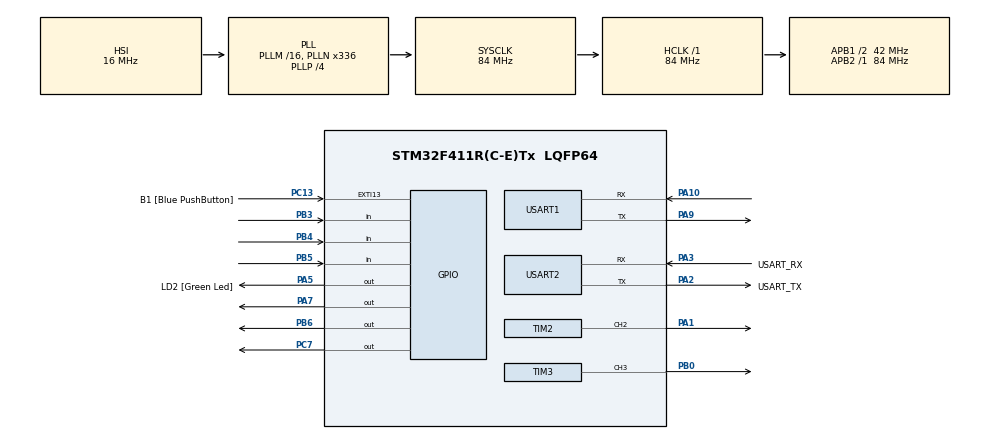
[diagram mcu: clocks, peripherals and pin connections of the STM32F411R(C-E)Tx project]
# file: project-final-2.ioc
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Mcu.Family=STM32F4
Mcu.Name=STM32F411R(C-E)Tx
Mcu.Package=LQFP64
NVIC.PriorityGroup=NVIC_PRIORITYGROUP_0
NVIC.TIM2_IRQn=true\:0\:0\:false\:false\:true\:true\:true\:true
PA1.Signal=S_TIM2_CH2
PA10.Mode=Asynchronous
PA10.Signal=USART1_RX
PA13.GPIO_Label=TMS
PA13.Mode=Serial_Wire
PA13.Signal=SYS_JTMS-SWDIO
PA14.GPIO_Label=TCK
PA14.Mode=Serial_Wire
PA14.Signal=SYS_JTCK-SWCLK
PA2.GPIO_Label=USART_TX
PA2.Mode=Asynchronous
PA2.Signal=USART2_TX
PA3.GPIO_Label=USART_RX
PA3.Mode=Asynchronous
PA3.Signal=USART2_RX
PA5.GPIO_Label=LD2 [Green Led]
PA5.Signal=GPIO_Output
PA7.Signal=GPIO_Output
PA9.Mode=Asynchronous
PA9.Signal=USART1_TX
PB0.Signal=S_TIM3_CH3
PB3.GPIO_PuPd=GPIO_PULLUP
PB3.Signal=GPIO_Input
PB4.GPIO_PuPd=GPIO_PULLUP
PB4.Signal=GPIO_Input
PB5.GPIO_PuPd=GPIO_PULLUP
PB5.Signal=GPIO_Input
PB6.Signal=GPIO_Output
PC13-ANTI_TAMP.GPIO_Label=B1 [Blue PushButton]
PC13-ANTI_TAMP.GPIO_ModeDefaultEXTI=GPIO_MODE_IT_FALLING
PC13-ANTI_TAMP.Signal=GPXTI13
PC14-OSC32_IN.Mode=LSE-External-Oscillator
PC14-OSC32_IN.Signal=RCC_OSC32_IN
PC15-OSC32_OUT.Mode=LSE-External-Oscillator
PC15-OSC32_OUT.Signal=RCC_OSC32_OUT
PC7.Signal=GPIO_Output
PH0\ -\ OSC_IN.Mode=HSE-External-Clock-Source
PH0\ -\ OSC_IN.Signal=RCC_OSC_IN
PH1\ -\ OSC_OUT.Mode=HSE-External-Clock-Source
PH1\ -\ OSC_OUT.Signal=RCC_OSC_OUT
ProjectManager.HeapSize=0x200
ProjectManager.StackSize=0x400
ProjectManager.TargetToolchain=STM32CubeIDE
RCC.48MHZClocksFreq_Value=84000000
RCC.AHBFreq_Value=84000000
RCC.APB1CLKDivider=RCC_HCLK_DIV2
RCC.APB1Freq_Value=42000000
RCC.APB1TimFreq_Value=84000000
RCC.APB2Freq_Value=84000000
RCC.APB2TimFreq_Value=84000000
RCC.CortexFreq_Value=84000000
RCC.FLatency-AdvancedSettings=FLASH_LATENCY_2
RCC.HCLKFreq_Value=84000000
RCC.HSE_VALUE=8000000
RCC.HSI_VALUE=16000000
RCC.PLLN=336
RCC.PLLP=RCC_PLLP_DIV4
RCC.SYSCLKFreq_VALUE=84000000
RCC.SYSCLKSource=RCC_SYSCLKSOURCE_PLLCLK
RCC.VCOOutputFreq_Value=336000000
SH.S_TIM2_CH2.0=TIM2_CH2,PWM Generation2 CH2
SH.S_TIM3_CH3.0=TIM3_CH3,PWM Generation3 CH3
TIM2.Channel-PWM\ Generation2\ CH2=TIM_CHANNEL_2
TIM2.Period=19999
TIM2.Prescaler=83
TIM3.Channel-PWM\ Generation3\ CH3=TIM_CHANNEL_3
TIM3.Period=999
TIM3.Prescaler=83
USART1.VirtualMode=VM_ASYNC
USART2.VirtualMode=VM_ASYNC
board=NUCLEO-F411RE

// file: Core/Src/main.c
/* USER CODE BEGIN Header */
/**
  ******************************************************************************
  * @file           : main.c
  * @brief          : Main program body
  ******************************************************************************
  * @attention
  *
  * Copyright (c) 2025 STMicroelectronics.
  * All rights reserved.
  *
  * This software is licensed under terms that can be found in the LICENSE file
  * in the root directory of this software component.
  * If no LICENSE file comes with this software, it is provided AS-IS.
  *
  ******************************************************************************
  */
/* USER CODE END Header */
#include "main.h"

/* USER CODE BEGIN Includes */
#include <stdio.h>  // Needed for sprintf
#include <string.h> // Needed for strlen
/* USER CODE END Includes */

/* USER CODE BEGIN PD */
// --- High Octave Frequencies (loudest for small buzzers) ---
// --- Octave 5 (Mid-High) ---
#define NOTE_C5  523
#define NOTE_D5  587
#define NOTE_E5  659
#define NOTE_F5  698
#define NOTE_G5  784
#define NOTE_A5  880
#define NOTE_B5  988

// --- Octave 6 (High - Best for resonance) ---
#define NOTE_C6  1047
#define NOTE_CS6 1109
#define NOTE_D6  1175
#define NOTE_DS6 1245
#define NOTE_E6  1319
#define NOTE_F6  1397
#define NOTE_FS6 1480
#define NOTE_G6  1568
#define NOTE_GS6 1661
#define NOTE_A6  1760
#define NOTE_AS6 1865
#define NOTE_B6  1976
// --- Sound Structure ---
typedef struct {
    uint16_t frequency; // Frequency in Hz
    uint16_t duration;  // Duration in milliseconds
} Tone;

const Tone snd_power_up[] = {
    {NOTE_C5, 100}, // 523 Hz
    {NOTE_E5, 100}, // 659 Hz
    {NOTE_G5, 100}, // 784 Hz
    {NOTE_C6, 100}, // 1047 Hz
    {NOTE_E6, 100}, // 1319 Hz
    {NOTE_G6, 250}, // 1568 Hz (Holds the high note)
    {0, 0}
};

const Tone snd_next_level[] = {
    {NOTE_E6, 100}, // 1319 Hz
    {NOTE_G6, 250}, // 1568 Hz (Holds the high note)
    {0, 0}
};

const Tone snd_game_start[] = {
    {NOTE_G5, 100}, // Ready...
    {0,       50},
    {NOTE_G5, 100}, // Set...
    {0,       50},
    {NOTE_C6, 400}, // GO! (High C)
    {0, 0}
};

const Tone snd_game_loss[] = {
    {NOTE_C6, 200}, // 1047 Hz
    {NOTE_B5, 200}, // 988 Hz
    {NOTE_AS6,200}, // (A#) using higher octave equivalent or A5 sharp
    // Actually let's use the explicit chromatic step down:
    {NOTE_A5, 200}, // 880 Hz
    {NOTE_GS6, 0},  // Skip (Logic fix below)

    // Simpler "Sad" Sequence:
    {NOTE_E6, 250},
    {NOTE_C6, 250},
    {NOTE_G5, 250},
    {NOTE_C5, 600}, // Lands on low C5
    {0, 0}
};
/* USER CODE END PD */

TIM_HandleTypeDef htim2;
TIM_HandleTypeDef htim3;

UART_HandleTypeDef huart1;
UART_HandleTypeDef huart2;

/* USER CODE BEGIN PV */
#include <stdlib.h> // For rand()

// Game Constants
#define MAX_LEVEL 100     // Maximum sequence length
#define START_SPEED 1000 // Initial LED speed in ms
#define SLOW_FACTOR 0.93f

// Game State
typedef enum {
    STATE_IDLE,
    STATE_SHOW_SEQUENCE,
    STATE_WAIT_FOR_INPUT,
    STATE_GAME_OVER
} GameState_t;

GameState_t currentState = STATE_IDLE;

// Sequence Memory
int simonSequence[MAX_LEVEL]; // Stores the pattern (e.g., {1, 3, 2, 1...})
int currentLevel = 1;         // How many steps to show
int playerIndex = 0;          // Which step the player is currently guessing
char msg[30];

const int startMaxTime = 30000;
volatile int currentMaxTime = startMaxTime; 	  // Max in timer (ms)
volatile int currentTime = startMaxTime;		  // Current time (ms)

volatile int decreateTimerActive = 0;	  // if set, the timer will go down at constant rate

// Your Button Struct (Keep this from before)
typedef struct {
    GPIO_TypeDef* BtnPort; uint16_t BtnPin;
    GPIO_TypeDef* LedPort; uint16_t LedPin;
    uint8_t ID;
    GPIO_PinState LastState; uint32_t LastDebounceTime;
} Button_t;

Button_t btn1 = {GPIOB, GPIO_PIN_4, GPIOC, GPIO_PIN_7, 1, GPIO_PIN_SET, 0};
Button_t btn2 = {GPIOB, GPIO_PIN_3, GPIOC, GPIO_PIN_6, 2, GPIO_PIN_SET, 0};
Button_t btn3 = {GPIOB, GPIO_PIN_5, GPIOA, GPIO_PIN_7, 3, GPIO_PIN_SET, 0};
/* USER CODE END PV */

void SystemClock_Config(void);
static void MX_GPIO_Init(void);
static void MX_USART2_UART_Init(void);
static void MX_USART1_UART_Init(void);
static void MX_TIM2_Init(void);
static void MX_TIM3_Init(void);
/* USER CODE BEGIN PFP */
void buzzer_set_tone(uint32_t frequency);
/* USER CODE END PFP */

int main(void)
{

  /* MCU Configuration--------------------------------------------------------*/

  /* Reset of all peripherals, Initializes the Flash interface and the Systick. */
  HAL_Init();

  /* Configure the system clock */
  SystemClock_Config();

  /* Initialize all configured peripherals */
  MX_GPIO_Init();
  MX_USART2_UART_Init();
  MX_USART1_UART_Init();
  MX_TIM2_Init();
  MX_TIM3_Init();
  /* USER CODE BEGIN 2 */
  HAL_TIM_PWM_Start(&htim2, TIM_CHANNEL_2);
  HAL_TIM_Base_Start_IT(&htim2);

  HAL_TIM_PWM_Start(&htim3, TIM_CHANNEL_3);

  Play_Melody(snd_power_up);

  sprintf(msg, "idle,0");
  HAL_UART_Transmit(&huart1, (uint8_t*)msg, strlen(msg), 100);
  /* USER CODE END 2 */

  /* Infinite loop */
  while (1)
  {

    /* USER CODE BEGIN 3 */
	  switch (currentState) {

		case STATE_IDLE:

			// Wait for ANY button to start
			if (HAL_GPIO_ReadPin(GPIOB, GPIO_PIN_4) == 0 ||
				HAL_GPIO_ReadPin(GPIOB, GPIO_PIN_3) == 0 ||
				HAL_GPIO_ReadPin(GPIOB, GPIO_PIN_5) == 0)
			{
				HAL_Delay(500); // Debounce start
				Play_Melody(snd_game_start);
				currentMaxTime = startMaxTime;
				SetTime(currentMaxTime);
				Start_New_Game();
			}
			break;

		case STATE_SHOW_SEQUENCE:
		    // Send Message to ESP32
		    sprintf(msg, "playing,%d", currentLevel - 1);
		    HAL_UART_Transmit(&huart1, (uint8_t*)msg, strlen(msg), 100);

			decreateTimerActive = 0;
			Play_Melody(snd_next_level);

			SetTime(currentTime + currentMaxTime/3);
			UpdateCurrentMaxTime();

			HAL_Delay(500);
			RandomNewSequence();
			// Play the pattern up to the current level
			for (int i = 0; i < currentLevel; i++) {
				Flash_LED(simonSequence[i], 300); // 600ms speed
			}

			decreateTimerActive = 1;
			currentState = STATE_WAIT_FOR_INPUT;
			break;

		case STATE_WAIT_FOR_INPUT:

		  if (currentTime == 0) {
			  currentState = STATE_GAME_OVER;
			  break;
		  }
		  // --- Button 1 Check ---
		  if (HAL_GPIO_ReadPin(GPIOB, GPIO_PIN_4) == 0) {
			  HAL_Delay(50); // WAIT 50ms for noise to settle

			  // Double check: Is it STILL pressed?
			  if (HAL_GPIO_ReadPin(GPIOB, GPIO_PIN_4) == 0) {
				  Check_Player_Input(1); // Register the move

				  // Critical: Wait until user RELEASES the button before continuing
				  // Otherwise, the loop runs again immediately
				  while(HAL_GPIO_ReadPin(GPIOB, GPIO_PIN_4) == 0);
			  }
		  }

		  // --- Button 2 Check ---
		  else if (HAL_GPIO_ReadPin(GPIOB, GPIO_PIN_3) == 0) {
			  HAL_Delay(50);
			  if (HAL_GPIO_ReadPin(GPIOB, GPIO_PIN_3) == 0) {
				  Check_Player_Input(2);
				  while(HAL_GPIO_ReadPin(GPIOB, GPIO_PIN_3) == 0);
			  }
		  }

		  // --- Button 3 Check ---
		  else if (HAL_GPIO_ReadPin(GPIOB, GPIO_PIN_5) == 0) {
			  HAL_Delay(50);
			  if (HAL_GPIO_ReadPin(GPIOB, GPIO_PIN_5) == 0) {
				  Check_Player_Input(3);
				  while(HAL_GPIO_ReadPin(GPIOB, GPIO_PIN_5) == 0);
			  }
		  }
		  break;

		case STATE_GAME_OVER:
			decreateTimerActive = 0;
			Play_GameOver_Anim();
			Play_Melody(snd_game_loss);
			break;
	}
  }
  /* USER CODE END 3 */
}

void SystemClock_Config(void)
{
  RCC_OscInitTypeDef RCC_OscInitStruct = {0};
  RCC_ClkInitTypeDef RCC_ClkInitStruct = {0};

  /** Configure the main internal regulator output voltage
  */
  __HAL_RCC_PWR_CLK_ENABLE();
  __HAL_PWR_VOLTAGESCALING_CONFIG(PWR_REGULATOR_VOLTAGE_SCALE1);

  /** Initializes the RCC Oscillators according to the specified parameters
  * in the RCC_OscInitTypeDef structure.
  */
  RCC_OscInitStruct.OscillatorType = RCC_OSCILLATORTYPE_HSI;
  RCC_OscInitStruct.HSIState = RCC_HSI_ON;
  RCC_OscInitStruct.HSICalibrationValue = RCC_HSICALIBRATION_DEFAULT;
  RCC_OscInitStruct.PLL.PLLState = RCC_PLL_ON;
  RCC_OscInitStruct.PLL.PLLSource = RCC_PLLSOURCE_HSI;
  RCC_OscInitStruct.PLL.PLLM = 16;
  RCC_OscInitStruct.PLL.PLLN = 336;
  RCC_OscInitStruct.PLL.PLLP = RCC_PLLP_DIV4;
  RCC_OscInitStruct.PLL.PLLQ = 4;
  if (HAL_RCC_OscConfig(&RCC_OscInitStruct) != HAL_OK)
  {
    Error_Handler();
  }

  /** Initializes the CPU, AHB and APB buses clocks
  */
  RCC_ClkInitStruct.ClockType = RCC_CLOCKTYPE_HCLK|RCC_CLOCKTYPE_SYSCLK
                              |RCC_CLOCKTYPE_PCLK1|RCC_CLOCKTYPE_PCLK2;
  RCC_ClkInitStruct.SYSCLKSource = RCC_SYSCLKSOURCE_PLLCLK;
  RCC_ClkInitStruct.AHBCLKDivider = RCC_SYSCLK_DIV1;
  RCC_ClkInitStruct.APB1CLKDivider = RCC_HCLK_DIV2;
  RCC_ClkInitStruct.APB2CLKDivider = RCC_HCLK_DIV1;

  if (HAL_RCC_ClockConfig(&RCC_ClkInitStruct, FLASH_LATENCY_2) != HAL_OK)
  {
    Error_Handler();
  }
}

static void MX_TIM2_Init(void)
{

  TIM_MasterConfigTypeDef sMasterConfig = {0};
  TIM_OC_InitTypeDef sConfigOC = {0};

  htim2.Instance = TIM2;
  htim2.Init.Prescaler = 83;
  htim2.Init.CounterMode = TIM_COUNTERMODE_UP;
  htim2.Init.Period = 19999;
  htim2.Init.ClockDivision = TIM_CLOCKDIVISION_DIV1;
  htim2.Init.AutoReloadPreload = TIM_AUTORELOAD_PRELOAD_DISABLE;
  if (HAL_TIM_PWM_Init(&htim2) != HAL_OK)
  {
    Error_Handler();
  }
  sMasterConfig.MasterOutputTrigger = TIM_TRGO_RESET;
  sMasterConfig.MasterSlaveMode = TIM_MASTERSLAVEMODE_DISABLE;
  if (HAL_TIMEx_MasterConfigSynchronization(&htim2, &sMasterConfig) != HAL_OK)
  {
    Error_Handler();
  }
  sConfigOC.OCMode = TIM_OCMODE_PWM1;
  sConfigOC.Pulse = 0;
  sConfigOC.OCPolarity = TIM_OCPOLARITY_HIGH;
  sConfigOC.OCFastMode = TIM_OCFAST_DISABLE;
  if (HAL_TIM_PWM_ConfigChannel(&htim2, &sConfigOC, TIM_CHANNEL_2) != HAL_OK)
  {
    Error_Handler();
  }
  HAL_TIM_MspPostInit(&htim2);

}

static void MX_TIM3_Init(void)
{

  TIM_MasterConfigTypeDef sMasterConfig = {0};
  TIM_OC_InitTypeDef sConfigOC = {0};

  htim3.Instance = TIM3;
  htim3.Init.Prescaler = 83;
  htim3.Init.CounterMode = TIM_COUNTERMODE_UP;
  htim3.Init.Period = 999;
  htim3.Init.ClockDivision = TIM_CLOCKDIVISION_DIV1;
  htim3.Init.AutoReloadPreload = TIM_AUTORELOAD_PRELOAD_DISABLE;
  if (HAL_TIM_PWM_Init(&htim3) != HAL_OK)
  {
    Error_Handler();
  }
  sMasterConfig.MasterOutputTrigger = TIM_TRGO_RESET;
  sMasterConfig.MasterSlaveMode = TIM_MASTERSLAVEMODE_DISABLE;
  if (HAL_TIMEx_MasterConfigSynchronization(&htim3, &sMasterConfig) != HAL_OK)
  {
    Error_Handler();
  }
  sConfigOC.OCMode = TIM_OCMODE_PWM1;
  sConfigOC.Pulse = 0;
  sConfigOC.OCPolarity = TIM_OCPOLARITY_HIGH;
  sConfigOC.OCFastMode = TIM_OCFAST_DISABLE;
  if (HAL_TIM_PWM_ConfigChannel(&htim3, &sConfigOC, TIM_CHANNEL_3) != HAL_OK)
  {
    Error_Handler();
  }
  HAL_TIM_MspPostInit(&htim3);

}

static void MX_USART1_UART_Init(void)
{

  huart1.Instance = USART1;
  huart1.Init.BaudRate = 115200;
  huart1.Init.WordLength = UART_WORDLENGTH_8B;
  huart1.Init.StopBits = UART_STOPBITS_1;
  huart1.Init.Parity = UART_PARITY_NONE;
  huart1.Init.Mode = UART_MODE_TX_RX;
  huart1.Init.HwFlowCtl = UART_HWCONTROL_NONE;
  huart1.Init.OverSampling = UART_OVERSAMPLING_16;
  if (HAL_UART_Init(&huart1) != HAL_OK)
  {
    Error_Handler();
  }

}

static void MX_USART2_UART_Init(void)
{

  huart2.Instance = USART2;
  huart2.Init.BaudRate = 115200;
  huart2.Init.WordLength = UART_WORDLENGTH_8B;
  huart2.Init.StopBits = UART_STOPBITS_1;
  huart2.Init.Parity = UART_PARITY_NONE;
  huart2.Init.Mode = UART_MODE_TX_RX;
  huart2.Init.HwFlowCtl = UART_HWCONTROL_NONE;
  huart2.Init.OverSampling = UART_OVERSAMPLING_16;
  if (HAL_UART_Init(&huart2) != HAL_OK)
  {
    Error_Handler();
  }

}

static void MX_GPIO_Init(void)
{
  GPIO_InitTypeDef GPIO_InitStruct = {0};

  /* GPIO Ports Clock Enable */
  __HAL_RCC_GPIOC_CLK_ENABLE();
  __HAL_RCC_GPIOH_CLK_ENABLE();
  __HAL_RCC_GPIOA_CLK_ENABLE();
  __HAL_RCC_GPIOB_CLK_ENABLE();

  /*Configure GPIO pin Output Level */
  HAL_GPIO_WritePin(GPIOA, LD2_Pin|GPIO_PIN_7, GPIO_PIN_RESET);

  /*Configure GPIO pin Output Level */
  HAL_GPIO_WritePin(GPIOC, GPIO_PIN_7, GPIO_PIN_RESET);

  /*Configure GPIO pin Output Level */
  HAL_GPIO_WritePin(GPIOB, GPIO_PIN_6, GPIO_PIN_RESET);

  /*Configure GPIO pin : B1_Pin */
  GPIO_InitStruct.Pin = B1_Pin;
  GPIO_InitStruct.Mode = GPIO_MODE_IT_FALLING;
  GPIO_InitStruct.Pull = GPIO_NOPULL;
  HAL_GPIO_Init(B1_GPIO_Port, &GPIO_InitStruct);

  /*Configure GPIO pins : LD2_Pin PA7 */
  GPIO_InitStruct.Pin = LD2_Pin|GPIO_PIN_7;
  GPIO_InitStruct.Mode = GPIO_MODE_OUTPUT_PP;
  GPIO_InitStruct.Pull = GPIO_NOPULL;
  GPIO_InitStruct.Speed = GPIO_SPEED_FREQ_LOW;
  HAL_GPIO_Init(GPIOA, &GPIO_InitStruct);

  /*Configure GPIO pin : PC7 */
  GPIO_InitStruct.Pin = GPIO_PIN_7;
  GPIO_InitStruct.Mode = GPIO_MODE_OUTPUT_PP;
  GPIO_InitStruct.Pull = GPIO_NOPULL;
  GPIO_InitStruct.Speed = GPIO_SPEED_FREQ_LOW;
  HAL_GPIO_Init(GPIOC, &GPIO_InitStruct);

  /*Configure GPIO pins : PB3 PB4 PB5 */
  GPIO_InitStruct.Pin = GPIO_PIN_3|GPIO_PIN_4|GPIO_PIN_5;
  GPIO_InitStruct.Mode = GPIO_MODE_INPUT;
  GPIO_InitStruct.Pull = GPIO_PULLUP;
  HAL_GPIO_Init(GPIOB, &GPIO_InitStruct);

  /*Configure GPIO pin : PB6 */
  GPIO_InitStruct.Pin = GPIO_PIN_6;
  GPIO_InitStruct.Mode = GPIO_MODE_OUTPUT_PP;
  GPIO_InitStruct.Pull = GPIO_NOPULL;
  GPIO_InitStruct.Speed = GPIO_SPEED_FREQ_LOW;
  HAL_GPIO_Init(GPIOB, &GPIO_InitStruct);

}

/* USER CODE BEGIN 4 */
// Turn a specific LED ON for a short time
void Flash_LED(int id, int speed) {
    GPIO_TypeDef* port;
    uint16_t pin;

    // Map ID to Pin
    if (id == 1) { port = GPIOC; pin = GPIO_PIN_7; }
    else if (id == 2) { port = GPIOB; pin = GPIO_PIN_6; }
    else { port = GPIOA; pin = GPIO_PIN_7; }

    HAL_GPIO_WritePin(port, pin, GPIO_PIN_SET);   // ON
    HAL_Delay(speed);
    HAL_GPIO_WritePin(port, pin, GPIO_PIN_RESET); // OFF
    HAL_Delay(speed / 2); // Gap between flashes
}

// Generate a new random sequence
void Start_New_Game() {
    currentLevel = 1;
    playerIndex = 0;
    srand(HAL_GetTick()); // Seed random number generator with time

    currentState = STATE_SHOW_SEQUENCE;
}

// Generate a new random sequence
void RandomNewSequence() {
    // Fill the array with random numbers (1, 2, or 3)
    for(int i=0; i<currentLevel; i++) {
        simonSequence[i] = (rand() % 3) + 1;
    }
}

// Flash all LEDs to show Game Over
void Play_GameOver_Anim() {
    for(int i=0; i<3; i++) {
        HAL_GPIO_WritePin(GPIOC, GPIO_PIN_7, GPIO_PIN_SET);
        HAL_GPIO_WritePin(GPIOB, GPIO_PIN_6, GPIO_PIN_SET);
        HAL_GPIO_WritePin(GPIOA, GPIO_PIN_7, GPIO_PIN_SET);
        HAL_Delay(200);
        HAL_GPIO_WritePin(GPIOC, GPIO_PIN_7, GPIO_PIN_RESET);
        HAL_GPIO_WritePin(GPIOB, GPIO_PIN_6, GPIO_PIN_RESET);
        HAL_GPIO_WritePin(GPIOA, GPIO_PIN_7, GPIO_PIN_RESET);
        HAL_Delay(200);
    }
    // Send Message to ESP32
    sprintf(msg, "end,%d", currentLevel);
    HAL_UART_Transmit(&huart1, (uint8_t*)msg, strlen(msg), 100);

    currentState = STATE_IDLE; // Reset to start
}

void Check_Player_Input(int btnID) {
    // 1. Flash the LED briefly so user knows they pressed it
    Flash_LED(btnID, 200);

    // 2. Check logic
    if (btnID == simonSequence[playerIndex]) {
        // CORRECT!
        playerIndex++; // Move to next expected button

        // Did they finish the whole sequence?
        if (playerIndex >= currentLevel) {
            HAL_Delay(500); // Small pause before next level
            currentLevel++;
            playerIndex = 0; // Reset player cursor

            currentState = STATE_SHOW_SEQUENCE; // Show next pattern
        }
    }
    else {
        // WRONG!
        currentState = STATE_GAME_OVER;
    }
}

void buzzer_set_tone(uint32_t frequency) {
    if (frequency == 0) {
        // If freq is 0, set duty cycle to 0 to stop sound
        __HAL_TIM_SET_COMPARE(&htim3, TIM_CHANNEL_3, 0);
    } else {
        // 1. Calculate the new Period (ARR)
        // Formula: 1,000,000 / Frequency - 1 (because counter starts at 0)
        uint32_t arr_value = (1000000 / frequency) - 1;

        // 2. Set the new Period
        __HAL_TIM_SET_AUTORELOAD(&htim3, arr_value);

        // 3. Set Duty Cycle to 50% (Volume/Resonance is best at 50%)
        __HAL_TIM_SET_COMPARE(&htim3, TIM_CHANNEL_3, arr_value / 2);

        // 4. Reset counter to ensure smooth transition
        __HAL_TIM_SET_COUNTER(&htim3, 0);
    }
}

void Play_Melody(const Tone *melody) {
    int i = 0;
    while (melody[i].duration != 0) {
        buzzer_set_tone(melody[i].frequency);
        HAL_Delay(melody[i].duration);
        buzzer_set_tone(0); // Stop sound briefly
        HAL_Delay(20);      // Articulation gap
        i++;
    }
    buzzer_set_tone(0); // Ensure silence at end
}

void SetTime(int time) {
	currentTime = time;
    if (currentTime > currentMaxTime) {
        currentTime = currentMaxTime; // Decrement time
    }
    if (currentTime < 0)  {
    	currentTime = 0;
    }
}

void UpdateCurrentMaxTime() {
	currentMaxTime = currentMaxTime * 85 / 100;
	if(currentMaxTime < 300) {
		currentMaxTime = 300;
	}
}

void HAL_TIM_PeriodElapsedCallback(TIM_HandleTypeDef *htim)
{
    // Check if the interrupt comes from TIM2 (Servo Timer)
    if (htim->Instance == TIM2) {

        // --- OPTION 1: Auto-Countdown (Smoothest) ---
		// Since this runs at 50Hz (every 0.02 seconds),
		// we can subtract 0.02 from the time automatically.
		if (decreateTimerActive) {
			SetTime(currentTime - 20); // Decrement time
		}

        // 1. Calculate Ratio
        float ratio = (float)currentTime / (float)currentMaxTime;
        if (ratio > 1)  ratio = 1;
        else if(ratio < 0) ratio = 0;

        // 2. Map to Range (600 - 2500)
        // Range = 1900
        uint32_t pulse_width = 600 + (uint32_t)(1900 * ratio);

        // 3. Update PWM
        __HAL_TIM_SET_COMPARE(&htim2, TIM_CHANNEL_2, pulse_width);
    }
}
/* USER CODE END 4 */

void Error_Handler(void)
{
  __disable_irq();
  while (1)
  {
  }
}
